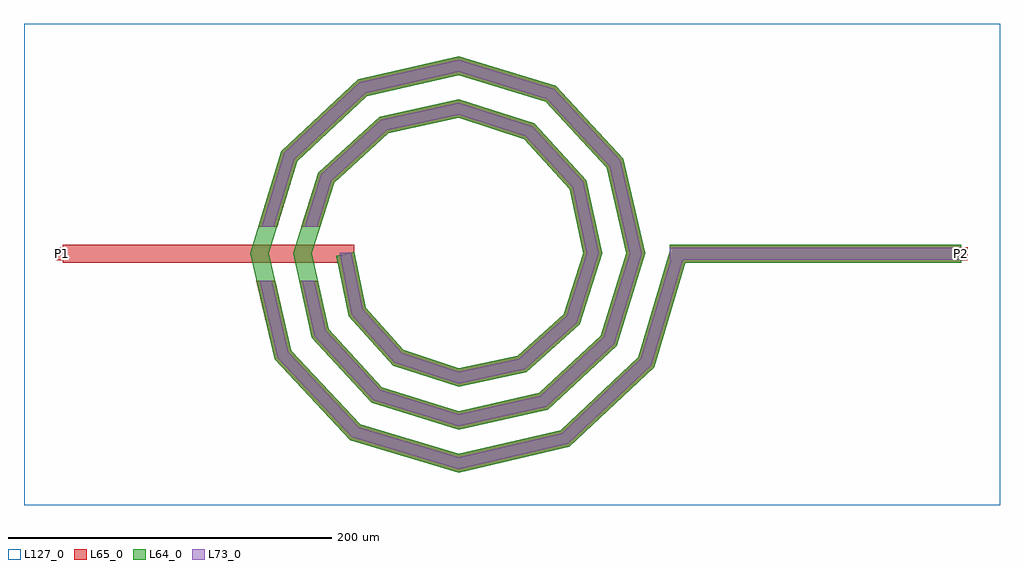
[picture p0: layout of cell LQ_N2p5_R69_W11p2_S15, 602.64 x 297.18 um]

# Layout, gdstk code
import gdstk
lib = gdstk.Library(unit=1e-6, precision=1e-09)
def R(c, l, rs):  # rectangles x0, y0, x1, y1
    for r in rs: c.add(gdstk.rectangle(r[:2], r[2:], *l))
def P(c, l, *ps):  # polygons
    for p in ps: c.add(gdstk.Polygon(p, *l))
L64_0 = (64, 0)
L65_0 = (65, 0)
L73_0 = (73, 0)
L127_0 = (127, 0)

lq_n2p5_r69_w11p2_s15 = lib.new_cell('LQ_N2p5_R69_W11p2_S15')
R(lq_n2p5_r69_w11p2_s15, L64_0, [(130.445,-5.6,310.445,5.6)])
P(lq_n2p5_r69_w11p2_s15, L64_0, [(-57.175,-33.393),(-33.931,-59.414),(0.312,-70.628),(36.681,-62.926),(65.137,-37.266),(77.252,0.287),(68.674,39.973),(40.598,70.863),(0.266,83.876),(-43.267,74.421),(-76.59,43.927),(-90.501,0.248),(-80.167,-46.564),(-47.253,-82.319),(0.232,-97.126),(49.864,-85.912),(88.049,-50.578),(103.75,0.218),(91.656,53.164),(53.902,93.78),(0.206,110.375),(-56.466,97.399),(-99.512,57.224),(-117,0.194),(-103.142,-59.77),(-60.546,-105.244),(0.185,-123.625),(63.074,-108.884),(110.977,-63.866),(130.683,1.614),(141.408,-1.614),(120.836,-69.971),(68.555,-119.103),(0.185,-135.215),(-66.666,-115.093),(-113.37,-65.234),(-128.59,0.194),(-109.35,63.362),(-61.912,107.637),(0.206,121.964),(60.059,103.607),(101.905,58.588),(115.338,0.218),(97.862,-56.758),(55.264,-96.174),(0.232,-108.713),(-53.457,-92.117),(-90.444,-51.938),(-102.087,0.248),(-86.37,50.159),(-48.61,84.714),(0.266,95.461),(46.863,80.622),(78.986,45.279),(88.835,0.287),(74.873,-43.569),(41.946,-73.259),(0.312,-82.208),(-40.278,-69.121),(-67.534,-38.608),(-75.277,-1.133),(-64.309,1.133)])
R(lq_n2p5_r69_w11p2_s15, L65_0, [(-244.193,-5.6,-64.193,5.6), (130.445,-5.6,310.445,5.6), (-248.193,-4,-240.193,4), (306.445,-4,314.445,4)])
P(lq_n2p5_r69_w11p2_s15, L65_0, [(-103.142,-59.77),(-60.546,-105.244),(0.185,-123.625),(63.074,-108.884),(110.977,-63.866),(130.683,1.614),(141.408,-1.614),(120.836,-69.971),(68.555,-119.103),(0.185,-135.215),(-66.666,-115.093),(-113.37,-65.234),(-124.636,-16.8),(-113.137,-16.8)],
  [(-80.167,-46.564),(-47.253,-82.319),(0.232,-97.126),(49.864,-85.912),(88.049,-50.578),(103.75,0.218),(91.656,53.164),(53.902,93.78),(0.206,110.375),(-56.466,97.399),(-99.512,57.224),(-111.824,16.8),(-123.532,16.8),(-109.35,63.362),(-61.912,107.637),(0.206,121.964),(60.059,103.607),(101.906,58.588),(115.338,0.218),(97.862,-56.758),(55.264,-96.174),(0.232,-108.713),(-53.457,-92.117),(-90.444,-51.938),(-98.283,-16.8),(-86.808,-16.8)],
  [(-33.931,-59.414),(0.312,-70.628),(36.681,-62.926),(65.138,-37.266),(77.252,0.287),(68.674,39.973),(40.598,70.863),(0.266,83.876),(-43.267,74.421),(-76.591,43.927),(-85.133,16.8),(-96.875,16.8),(-86.37,50.159),(-48.61,84.714),(0.266,95.461),(46.863,80.622),(78.986,45.279),(88.835,0.287),(74.873,-43.569),(41.946,-73.259),(0.312,-82.208),(-40.278,-69.121),(-67.534,-38.608),(-75.277,-1.133),(-64.309,1.133),(-57.175,-33.393)])
R(lq_n2p5_r69_w11p2_s15, L73_0, [(130.445,-3.6,310.445,3.6)])
P(lq_n2p5_r69_w11p2_s15, L73_0, [(-104.968,-60.745),(-61.639,-107.003),(0.119,-125.695),(64.053,-110.709),(112.737,-64.956),(132.598,1.038),(139.493,-1.038),(119.075,-68.881),(67.576,-117.278),(0.119,-133.146),(-65.573,-113.334),(-111.544,-64.258),(-122.583,-16.8),(-115.191,-16.8)],
  [(-82.002,-47.524),(-48.361,-84.069),(0.149,-99.195),(50.828,-87.745),(89.802,-51.682),(105.82,0.14),(93.486,54.133),(55.002,95.535),(0.132,112.445),(-57.439,99.228),(-101.269,58.32),(-113.915,16.8),(-121.441,16.8),(-107.593,62.266),(-60.939,105.809),(0.132,119.895),(58.96,101.852),(100.075,57.62),(113.269,0.14),(96.11,-55.654),(54.3,-94.342),(0.149,-106.644),(-52.35,-90.367),(-88.609,-50.978),(-96.234,-16.8),(-88.857,-16.8)],
  [(-35.065,-61.147),(0.201,-72.696),(37.621,-64.771),(66.876,-38.392),(79.32,0.185),(70.516,40.92),(41.716,72.606),(0.171,85.945),(-44.221,76.259),(-78.337,45.039),(-87.229,16.8),(-94.778,16.8),(-84.624,49.046),(-47.656,82.876),(0.171,93.392),(45.744,78.88),(77.145,44.332),(86.766,0.185),(73.134,-42.443),(41.006,-71.414),(0.201,-80.14),(-39.145,-67.388),(-65.685,-37.677),(-73.318,0.728),(-66.267,0.728),(-59.025,-34.324)])
R(lq_n2p5_r69_w11p2_s15, L127_0, [(-268.193,-155.215,334.445,141.964)])
lq_n2p5_r69_w11p2_s15.add(gdstk.Label('P2', (310.445,0), layer=65, texttype=0))
lq_n2p5_r69_w11p2_s15.add(gdstk.Label('P1', (-244.193,0), layer=65, texttype=0))
lq_n2p5_r69_w11p2_s15.add(gdstk.Label('P2', (314.445,0), layer=145, texttype=0))
lq_n2p5_r69_w11p2_s15.add(gdstk.Label('P1', (-248.193,0), layer=145, texttype=0))

lib.write_gds('LQ_N2p5_R69_W11p2_S15.gds')
